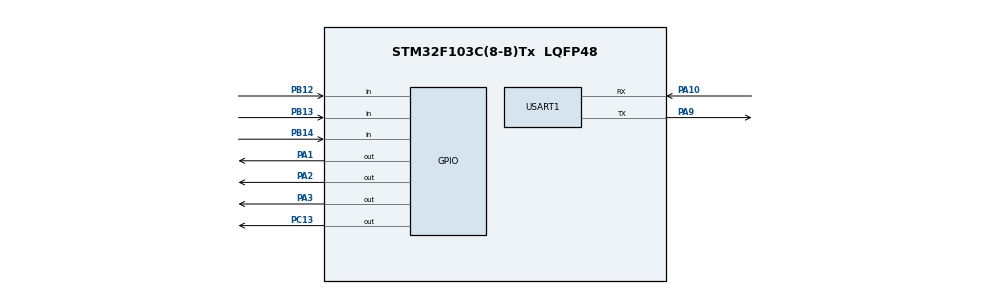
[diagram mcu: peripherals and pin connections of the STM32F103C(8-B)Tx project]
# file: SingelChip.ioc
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Mcu.Family=STM32F1
Mcu.Name=STM32F103C(8-B)Tx
Mcu.Package=LQFP48
NVIC.PriorityGroup=NVIC_PRIORITYGROUP_4
NVIC.USART1_IRQn=true\:0\:0\:false\:false\:true\:true\:true\:true
PA1.Signal=GPIO_Output
PA10.GPIO_PuPd=GPIO_PULLUP
PA10.Mode=Asynchronous
PA10.Signal=USART1_RX
PA13.Mode=Serial_Wire
PA13.Signal=SYS_JTMS-SWDIO
PA14.Mode=Serial_Wire
PA14.Signal=SYS_JTCK-SWCLK
PA2.Signal=GPIO_Output
PA3.Signal=GPIO_Output
PA9.Mode=Asynchronous
PA9.Signal=USART1_TX
PB12.GPIO_PuPd=GPIO_PULLUP
PB12.Signal=GPIO_Input
PB13.GPIO_PuPd=GPIO_PULLUP
PB13.Signal=GPIO_Input
PB14.GPIO_PuPd=GPIO_PULLUP
PB14.Signal=GPIO_Input
PC13-TAMPER-RTC.Signal=GPIO_Output
ProjectManager.HeapSize=0x200
ProjectManager.StackSize=0x400
ProjectManager.TargetToolchain=MDK-ARM V5.27
RCC.APB1Freq_Value=8000000
RCC.APB2Freq_Value=8000000
TIM2.Prescaler=71
USART1.VirtualMode=VM_ASYNC
VP_TIM2_VS_ClockSourceINT.Mode=Internal
board=custom

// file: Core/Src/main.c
/* USER CODE BEGIN Header */
/**
  ******************************************************************************
  * @file           : main.c
  * @brief          : Main program body
  ******************************************************************************
  * @attention
  *
  * Copyright (c) 2025 STMicroelectronics.
  * All rights reserved.
  *
  * This software is licensed under terms that can be found in the LICENSE file
  * in the root directory of this software component.
  * If no LICENSE file comes with this software, it is provided AS-IS.
  *
  ******************************************************************************
  */
/* USER CODE END Header */
#include "main.h"

/* USER CODE BEGIN PD */
#define TIMEOUT_uS 10000           // 无通信超时时间（1秒）
/* USER CODE END PD */

TIM_HandleTypeDef htim2;

UART_HandleTypeDef huart1;

/* USER CODE BEGIN PV */
uint8_t rx_data;
/* USER CODE END PV */

void SystemClock_Config(void);
static void MX_GPIO_Init(void);
static void MX_USART1_UART_Init(void);
static void MX_TIM2_Init(void);
/* USER CODE BEGIN PFP */
void delay_us(uint32_t us);
void Motor_Run(uint32_t dir, uint32_t travel, uint32_t speed);
/* USER CODE END PFP */

/* USER CODE BEGIN 0 */

/* 延时函数 BEGIN ---------------------------------------------------------*/
void delay_us(uint32_t us)
{
	uint32_t differ = 0xffff-us-5;
	__HAL_TIM_SET_COUNTER(&htim2, differ);
	HAL_TIM_Base_Start(&htim2);

	while(differ < 0xffff-5)
	{
		differ = __HAL_TIM_GET_COUNTER(&htim2);
	}
	HAL_TIM_Base_Stop(&htim2);
}
/* 延时函数 END ---------------------------------------------------------*/
/* 电机转动函数 BEGIN ---------------------------------------------------------*/
void Motor_Run(uint32_t dir, uint32_t travel, uint32_t speed)
{
	switch (dir)
  {
  	case 1: //正转
			HAL_GPIO_WritePin(GPIOA, GPIO_PIN_3, GPIO_PIN_SET);
			HAL_GPIO_WritePin(GPIOA, GPIO_PIN_1, GPIO_PIN_SET);
  		break;
		case 2: //反转
			HAL_GPIO_WritePin(GPIOA, GPIO_PIN_3, GPIO_PIN_SET);
			HAL_GPIO_WritePin(GPIOA, GPIO_PIN_1, GPIO_PIN_RESET);
  		break;
  	default: //默认不转动
			HAL_GPIO_WritePin(GPIOA, GPIO_PIN_3, GPIO_PIN_RESET);
  		break;
  }
	//uint32_t pulse_num = (travel*64);
	for(uint32_t i=0; i<travel; i++)
	{
		GPIOA->ODR ^= GPIO_PIN_2;
		delay_us(speed);
	}
}
/* 电机转动函数 END ---------------------------------------------------------*/
void HAL_UART_RxCpltCallback(UART_HandleTypeDef *huart)
{
    if (huart->Instance == USART1)
    {
        switch (rx_data)
					{
						case '1':
								Motor_Run(1, 128, 30);
								HAL_UART_Transmit(&huart1, (uint8_t *)"D", 1, HAL_MAX_DELAY);
								break;

						case '2':
								Motor_Run(2, 128, 30);
								HAL_UART_Transmit(&huart1, (uint8_t *)"D", 1, HAL_MAX_DELAY);
								break;
						case '3':
								Motor_Run(1, 1280, 15);
								HAL_UART_Transmit(&huart1, (uint8_t *)"D", 1, HAL_MAX_DELAY);
								break;

						case '4':
								Motor_Run(2, 1280, 15);
								HAL_UART_Transmit(&huart1, (uint8_t *)"D", 1, HAL_MAX_DELAY);
								break;

						default:
								// 可选：未定义的指令
								break;
					}

        // 重新使能接收中断
        HAL_UART_Receive_IT(&huart1, &rx_data, 1);
    }
}
/* USER CODE END 0 */

int main(void)
{

  /* MCU Configuration--------------------------------------------------------*/

  /* Reset of all peripherals, Initializes the Flash interface and the Systick. */
  HAL_Init();

  /* Configure the system clock */
  SystemClock_Config();

  /* Initialize all configured peripherals */
  MX_GPIO_Init();
  MX_USART1_UART_Init();
  MX_TIM2_Init();

  /* Infinite loop */
  /* USER CODE BEGIN WHILE */
	HAL_UART_Receive_IT(&huart1, &rx_data, 1);
  while (1){
    /* USER CODE END WHILE */

  }
}

void SystemClock_Config(void)
{
  RCC_OscInitTypeDef RCC_OscInitStruct = {0};
  RCC_ClkInitTypeDef RCC_ClkInitStruct = {0};

  /** Initializes the RCC Oscillators according to the specified parameters
  * in the RCC_OscInitTypeDef structure.
  */
  RCC_OscInitStruct.OscillatorType = RCC_OSCILLATORTYPE_HSI;
  RCC_OscInitStruct.HSIState = RCC_HSI_ON;
  RCC_OscInitStruct.HSICalibrationValue = RCC_HSICALIBRATION_DEFAULT;
  RCC_OscInitStruct.PLL.PLLState = RCC_PLL_NONE;
  if (HAL_RCC_OscConfig(&RCC_OscInitStruct) != HAL_OK)
  {
    Error_Handler();
  }

  /** Initializes the CPU, AHB and APB buses clocks
  */
  RCC_ClkInitStruct.ClockType = RCC_CLOCKTYPE_HCLK|RCC_CLOCKTYPE_SYSCLK
                              |RCC_CLOCKTYPE_PCLK1|RCC_CLOCKTYPE_PCLK2;
  RCC_ClkInitStruct.SYSCLKSource = RCC_SYSCLKSOURCE_HSI;
  RCC_ClkInitStruct.AHBCLKDivider = RCC_SYSCLK_DIV1;
  RCC_ClkInitStruct.APB1CLKDivider = RCC_HCLK_DIV1;
  RCC_ClkInitStruct.APB2CLKDivider = RCC_HCLK_DIV1;

  if (HAL_RCC_ClockConfig(&RCC_ClkInitStruct, FLASH_LATENCY_0) != HAL_OK)
  {
    Error_Handler();
  }
}

static void MX_TIM2_Init(void)
{

  TIM_ClockConfigTypeDef sClockSourceConfig = {0};
  TIM_MasterConfigTypeDef sMasterConfig = {0};

  htim2.Instance = TIM2;
  htim2.Init.Prescaler = 71;
  htim2.Init.CounterMode = TIM_COUNTERMODE_UP;
  htim2.Init.Period = 65535;
  htim2.Init.ClockDivision = TIM_CLOCKDIVISION_DIV1;
  htim2.Init.AutoReloadPreload = TIM_AUTORELOAD_PRELOAD_DISABLE;
  if (HAL_TIM_Base_Init(&htim2) != HAL_OK)
  {
    Error_Handler();
  }
  sClockSourceConfig.ClockSource = TIM_CLOCKSOURCE_INTERNAL;
  if (HAL_TIM_ConfigClockSource(&htim2, &sClockSourceConfig) != HAL_OK)
  {
    Error_Handler();
  }
  sMasterConfig.MasterOutputTrigger = TIM_TRGO_RESET;
  sMasterConfig.MasterSlaveMode = TIM_MASTERSLAVEMODE_DISABLE;
  if (HAL_TIMEx_MasterConfigSynchronization(&htim2, &sMasterConfig) != HAL_OK)
  {
    Error_Handler();
  }

}

static void MX_USART1_UART_Init(void)
{

  huart1.Instance = USART1;
  huart1.Init.BaudRate = 115200;
  huart1.Init.WordLength = UART_WORDLENGTH_8B;
  huart1.Init.StopBits = UART_STOPBITS_1;
  huart1.Init.Parity = UART_PARITY_NONE;
  huart1.Init.Mode = UART_MODE_TX_RX;
  huart1.Init.HwFlowCtl = UART_HWCONTROL_NONE;
  huart1.Init.OverSampling = UART_OVERSAMPLING_16;
  if (HAL_UART_Init(&huart1) != HAL_OK)
  {
    Error_Handler();
  }

}

static void MX_GPIO_Init(void)
{
  GPIO_InitTypeDef GPIO_InitStruct = {0};

  /* GPIO Ports Clock Enable */
  __HAL_RCC_GPIOC_CLK_ENABLE();
  __HAL_RCC_GPIOA_CLK_ENABLE();
  __HAL_RCC_GPIOB_CLK_ENABLE();

  /*Configure GPIO pin Output Level */
  HAL_GPIO_WritePin(GPIOC, GPIO_PIN_13, GPIO_PIN_RESET);

  /*Configure GPIO pin Output Level */
  HAL_GPIO_WritePin(GPIOA, GPIO_PIN_1|GPIO_PIN_2|GPIO_PIN_3, GPIO_PIN_RESET);

  /*Configure GPIO pin : PC13 */
  GPIO_InitStruct.Pin = GPIO_PIN_13;
  GPIO_InitStruct.Mode = GPIO_MODE_OUTPUT_PP;
  GPIO_InitStruct.Pull = GPIO_NOPULL;
  GPIO_InitStruct.Speed = GPIO_SPEED_FREQ_LOW;
  HAL_GPIO_Init(GPIOC, &GPIO_InitStruct);

  /*Configure GPIO pins : PA1 PA2 PA3 */
  GPIO_InitStruct.Pin = GPIO_PIN_1|GPIO_PIN_2|GPIO_PIN_3;
  GPIO_InitStruct.Mode = GPIO_MODE_OUTPUT_PP;
  GPIO_InitStruct.Pull = GPIO_NOPULL;
  GPIO_InitStruct.Speed = GPIO_SPEED_FREQ_LOW;
  HAL_GPIO_Init(GPIOA, &GPIO_InitStruct);

  /*Configure GPIO pins : PB12 PB13 PB14 */
  GPIO_InitStruct.Pin = GPIO_PIN_12|GPIO_PIN_13|GPIO_PIN_14;
  GPIO_InitStruct.Mode = GPIO_MODE_INPUT;
  GPIO_InitStruct.Pull = GPIO_PULLUP;
  HAL_GPIO_Init(GPIOB, &GPIO_InitStruct);

}

void Error_Handler(void)
{
  __disable_irq();
  while (1)
  {
  }
}
